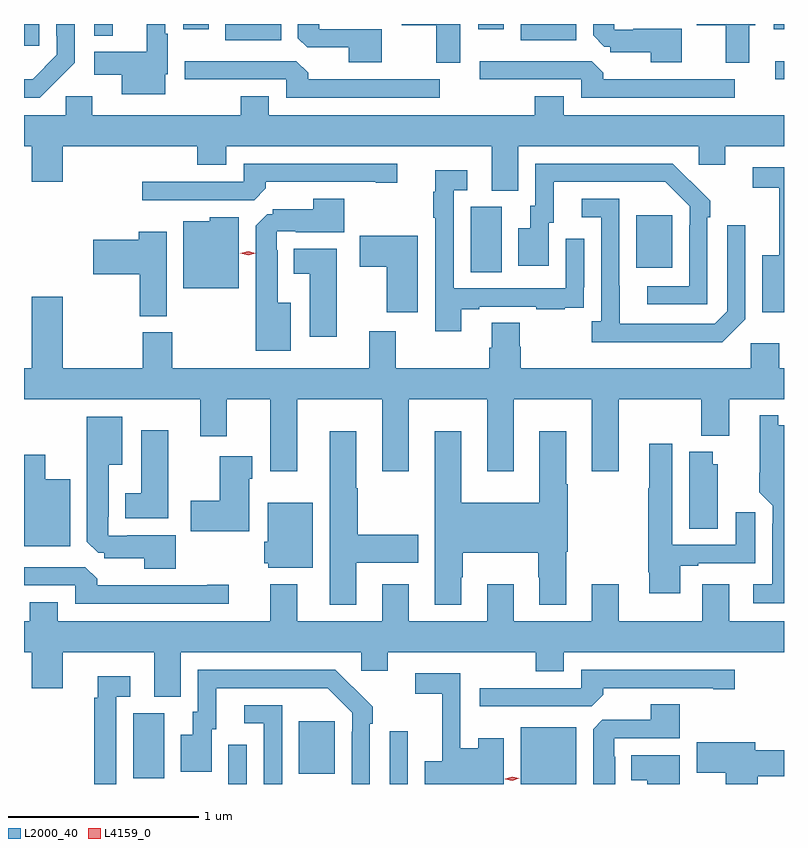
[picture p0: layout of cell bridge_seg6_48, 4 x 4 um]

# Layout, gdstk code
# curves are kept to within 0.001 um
import gdstk
lib = gdstk.Library(unit=1e-6, precision=1e-09)
def R(c, l, rs):  # rectangles x0, y0, x1, y1
    for r in rs: c.add(gdstk.rectangle(r[:2], r[2:], *l))
def P(c, l, *ps):  # polygons
    for p in ps: c.add(gdstk.Polygon(p, *l))
L2000_40 = (2000, 40)
L4159_0 = (4159, 0)

bridge_seg6_48 = lib.new_cell('bridge_seg6_48')
R(bridge_seg6_48, L2000_40, [(1077.132,983.939,1077.228,984.145), (1077.981,983.939,1078.077,984.217), (1078.67,983.939,1078.963,984.238), (1076.63,983.968,1076.794,984.312), (1077.503,983.993,1077.691,984.268), (1078.406,986.632,1078.57,986.976), (1079.279,986.657,1079.467,986.932), (1080.009,987.648,1080.056,987.744), (1076.056,987.825,1076.137,987.939), (1077.116,987.854,1077.409,987.939), (1078.67,987.854,1078.963,987.939), (1076.427,987.878,1076.523,987.939), (1076.894,987.912,1077.028,987.939), (1078.448,987.912,1078.582,987.939), (1080.002,987.912,1080.056,987.939)])
P(bridge_seg6_48, L2000_40, [(1079.872,987.932),(1079.905,987.932),(1079.905,987.939),(1079.598,987.939),(1079.598,987.932),(1079.75,987.932),(1079.75,987.735),(1079.872,987.735)],
  [(1076.8,987.675),(1076.812,987.675),(1076.812,987.889),(1076.799,987.889),(1076.799,987.939),(1076.702,987.939),(1076.702,987.793),(1076.427,987.793),(1076.427,987.671),(1076.57,987.671),(1076.57,987.569),(1076.8,987.569)],
  [(1076.322,987.734),(1076.322,987.939),(1076.226,987.939),(1076.226,987.877),(1076.229,987.877),(1076.229,987.777),(1076.101,987.649),(1076.056,987.649),(1076.056,987.552),(1076.14,987.552)],
  [(1077.94,987.912),(1077.609,987.912),(1077.609,987.939),(1077.497,987.939),(1077.497,987.865),(1077.546,987.816),(1077.764,987.816),(1077.764,987.737),(1077.94,987.737)],
  [(1078.351,987.939),(1078.044,987.939),(1078.044,987.932),(1078.226,987.932),(1078.226,987.735),(1078.351,987.735)],
  [(1079.518,987.913),(1079.263,987.913),(1079.263,987.909),(1079.163,987.909),(1079.163,987.939),(1079.051,987.939),(1079.051,987.879),(1079.111,987.819),(1079.142,987.819),(1079.142,987.791),(1079.354,987.791),(1079.354,987.737),(1079.518,987.737)],
  [(1078.243,987.648),(1077.551,987.648),(1077.551,987.682),(1077.489,987.744),(1076.901,987.744),(1076.901,987.648),(1077.435,987.648),(1077.435,987.552),(1078.243,987.552)],
  [(1079.797,987.648),(1079.105,987.648),(1079.105,987.682),(1079.043,987.744),(1078.455,987.744),(1078.455,987.648),(1078.989,987.648),(1078.989,987.552),(1079.797,987.552)],
  [(1078.657,987.296),(1079.607,987.296),(1079.607,987.198),(1079.746,987.198),(1079.746,987.296),(1080.056,987.296),(1080.056,987.46),(1078.897,987.46),(1078.897,987.559),(1078.745,987.559),(1078.745,987.46),(1077.343,987.46),(1077.343,987.559),(1077.196,987.559),(1077.196,987.46),(1076.416,987.46),(1076.416,987.558),(1076.277,987.558),(1076.277,987.46),(1076.056,987.46),(1076.056,987.296),(1076.096,987.296),(1076.096,987.108),(1076.26,987.108),(1076.26,987.296),(1076.969,987.296),(1076.969,987.197),(1077.121,987.197),(1077.121,987.296),(1078.517,987.296),(1078.517,987.061),(1078.657,987.061)],
  [(1079.652,986.921),(1079.667,986.921),(1079.667,987.009),(1079.47,987.204),(1078.746,987.204),(1078.746,986.982),(1078.721,986.982),(1078.721,986.863),(1078.658,986.863),(1078.658,986.667),(1078.819,986.667),(1078.819,986.892),(1078.843,986.892),(1078.843,987.108),(1079.431,987.108),(1079.559,986.979),(1079.559,986.879),(1079.556,986.879),(1079.556,986.559),(1079.337,986.559),(1079.337,986.463),(1079.652,986.463)],
  [(1077.329,987.074),(1077.329,987.108),(1077.908,987.108),(1077.908,987.103),(1078.021,987.103),(1078.021,987.204),(1077.213,987.204),(1077.213,987.108),(1076.679,987.108),(1076.679,987.012),(1077.267,987.012)],
  [(1080.056,987.186),(1079.892,987.186),(1079.892,987.078),(1080.032,987.078),(1080.032,986.722),(1079.942,986.722),(1079.942,986.422),(1080.056,986.422)],
  [(1078.357,986.439),(1078.453,986.439),(1078.453,986.451),(1078.753,986.451),(1078.753,986.439),(1078.901,986.439),(1078.901,986.445),(1079.003,986.445),(1079.003,986.554),(1079.004,986.554),(1079.004,986.809),(1078.908,986.809),(1078.908,986.547),(1078.317,986.547),(1078.317,987.063),(1078.39,987.063),(1078.39,987.169),(1078.22,987.169),(1078.22,987.056),(1078.209,987.056),(1078.209,986.92),(1078.221,986.92),(1078.221,986.322),(1078.357,986.322)],
  [(1077.46,986.473),(1077.391,986.473),(1077.391,986.747),(1077.387,986.747),(1077.387,986.847),(1077.487,986.847),(1077.487,986.843),(1077.742,986.843),(1077.742,987.019),(1077.578,987.019),(1077.578,986.965),(1077.366,986.965),(1077.366,986.937),(1077.335,986.937),(1077.275,986.877),(1077.275,986.219),(1077.46,986.219)],
  [(1079.853,986.385),(1079.853,986.881),(1079.757,986.881),(1079.757,986.427),(1079.691,986.361),(1079.191,986.361),(1079.19,987.018),(1078.992,987.018),(1078.992,986.922),(1079.094,986.922),(1079.094,986.374),(1079.043,986.374),(1079.043,986.264),(1079.732,986.264)],
  [(1077.187,986.923),(1077.033,986.923),(1077.033,986.902),(1076.894,986.902),(1076.894,986.549),(1077.187,986.549)],
  [(1076.806,986.845),(1076.66,986.845),(1076.66,986.804),(1076.421,986.804),(1076.421,986.621),(1076.665,986.621),(1076.665,986.401),(1076.806,986.401)],
  [(1078.129,986.824),(1077.822,986.824),(1077.822,986.662),(1077.965,986.662),(1077.965,986.421),(1078.129,986.421)],
  [(1077.703,986.755),(1077.476,986.755),(1077.476,986.624),(1077.56,986.624),(1077.56,986.292),(1077.703,986.292)],
  [(1077.493,985.964),(1077.941,985.964),(1077.941,985.584),(1078.081,985.584),(1078.081,985.964),(1078.493,985.964),(1078.493,985.584),(1078.633,985.584),(1078.633,985.964),(1079.045,985.964),(1079.045,985.584),(1079.185,985.584),(1079.185,985.964),(1079.62,985.964),(1079.62,985.772),(1079.767,985.772),(1079.767,985.964),(1080.056,985.964),(1080.056,986.128),(1080.032,986.128),(1080.032,986.26),(1079.88,986.26),(1079.88,986.128),(1078.67,986.128),(1078.67,986.241),(1078.665,986.241),(1078.665,986.366),(1078.517,986.366),(1078.517,986.234),(1078.505,986.234),(1078.505,986.128),(1078.012,986.128),(1078.012,986.323),(1077.872,986.323),(1077.872,986.128),(1076.835,986.128),(1076.835,986.316),(1076.68,986.316),(1076.68,986.128),(1076.26,986.128),(1076.26,986.503),(1076.096,986.503),(1076.096,986.128),(1076.056,986.128),(1076.056,985.964),(1076.984,985.964),(1076.984,985.77),(1077.124,985.77),(1077.124,985.964),(1077.353,985.964),(1077.353,985.584),(1077.493,985.584)],
  [(1080.056,985.828),(1080.025,985.828),(1080.025,985.879),(1079.928,985.879),(1079.927,985.474),(1079.997,985.404),(1079.997,985.31),(1079.993,985.31),(1079.993,984.991),(1079.895,984.991),(1079.895,984.89),(1080.056,984.89)],
  [(1076.854,985.249),(1076.599,985.249),(1076.599,985.245),(1076.499,985.245),(1076.499,985.345),(1076.503,985.345),(1076.503,985.619),(1076.572,985.619),(1076.572,985.873),(1076.387,985.873),(1076.387,985.215),(1076.447,985.155),(1076.478,985.155),(1076.478,985.127),(1076.69,985.127),(1076.69,985.073),(1076.854,985.073)],
  [(1076.815,985.801),(1076.672,985.801),(1076.672,985.468),(1076.588,985.468),(1076.588,985.337),(1076.815,985.337)],
  [(1078.357,985.028),(1078.365,985.028),(1078.365,985.157),(1078.762,985.157),(1078.762,985.028),(1078.769,985.028),(1078.769,984.882),(1078.909,984.882),(1078.909,985.161),(1078.917,985.161),(1078.917,985.516),(1078.909,985.516),(1078.909,985.795),(1078.769,985.795),(1078.769,985.42),(1078.357,985.42),(1078.357,985.795),(1078.217,985.795),(1078.217,984.882),(1078.357,984.882)],
  [(1077.805,985.103),(1078.132,985.103),(1078.132,985.251),(1077.813,985.251),(1077.813,985.496),(1077.805,985.496),(1077.805,985.795),(1077.665,985.795),(1077.665,984.882),(1077.805,984.882)],
  [(1079.509,985.089),(1079.605,985.089),(1079.605,985.101),(1079.905,985.101),(1079.905,985.369),(1079.801,985.369),(1079.801,985.197),(1079.467,985.197),(1079.467,985.729),(1079.348,985.729),(1079.348,985.496),(1079.341,985.496),(1079.341,985.054),(1079.348,985.054),(1079.348,984.942),(1079.509,984.942)],
  [(1079.707,985.623),(1079.68,985.623),(1079.68,985.687),(1079.558,985.687),(1079.558,985.282),(1079.707,985.282)],
  [(1076.299,985.543),(1076.167,985.543),(1076.167,985.672),(1076.056,985.672),(1076.056,985.19),(1076.299,985.19)],
  [(1077.241,985.545),(1077.256,985.545),(1077.256,985.663),(1077.086,985.663),(1077.086,985.431),(1076.934,985.431),(1076.934,985.268),(1077.241,985.268)],
  [(1077.577,985.42),(1077.338,985.42),(1077.338,985.215),(1077.32,985.215),(1077.32,985.101),(1077.342,985.101),(1077.342,985.076),(1077.577,985.076)],
  [(1077.133,984.989),(1077.02,984.989),(1077.02,984.984),(1076.441,984.984),(1076.441,985.018),(1076.379,985.08),(1076.056,985.08),(1076.056,984.984),(1076.325,984.984),(1076.325,984.888),(1077.133,984.888)],
  [(1076.881,984.632),(1077.831,984.632),(1077.831,984.534),(1077.97,984.534),(1077.97,984.632),(1078.75,984.632),(1078.75,984.533),(1078.897,984.533),(1078.897,984.632),(1080.056,984.632),(1080.056,984.796),(1079.767,984.796),(1079.767,984.991),(1079.627,984.991),(1079.627,984.796),(1079.185,984.796),(1079.185,984.991),(1079.045,984.991),(1079.045,984.796),(1078.633,984.796),(1078.633,984.991),(1078.493,984.991),(1078.493,984.796),(1078.081,984.796),(1078.081,984.991),(1077.941,984.991),(1077.941,984.796),(1077.493,984.796),(1077.493,984.991),(1077.353,984.991),(1077.353,984.796),(1076.233,984.796),(1076.233,984.895),(1076.086,984.895),(1076.086,984.796),(1076.056,984.796),(1076.056,984.632),(1076.096,984.632),(1076.096,984.444),(1076.26,984.444),(1076.26,984.632),(1076.741,984.632),(1076.741,984.397),(1076.881,984.397)],
  [(1077.876,984.257),(1077.891,984.257),(1077.891,984.345),(1077.694,984.54),(1076.97,984.54),(1076.97,984.318),(1076.945,984.318),(1076.945,984.199),(1076.882,984.199),(1076.882,984.003),(1077.043,984.003),(1077.043,984.228),(1077.067,984.228),(1077.067,984.444),(1077.655,984.444),(1077.783,984.315),(1077.783,984.215),(1077.78,984.215),(1077.78,983.939),(1077.876,983.939)],
  [(1079.105,984.41),(1079.105,984.444),(1079.684,984.444),(1079.684,984.439),(1079.797,984.439),(1079.797,984.54),(1078.989,984.54),(1078.989,984.444),(1078.455,984.444),(1078.455,984.348),(1079.043,984.348)],
  [(1078.582,984.181),(1078.448,984.181),(1078.448,984.127),(1078.353,984.127),(1078.353,984.522),(1078.116,984.522),(1078.116,984.414),(1078.256,984.414),(1078.256,984.058),(1078.166,984.058),(1078.166,983.939),(1078.582,983.939)],
  [(1076.541,984.399),(1076.614,984.399),(1076.614,984.505),(1076.444,984.505),(1076.444,984.392),(1076.425,984.392),(1076.425,983.939),(1076.541,983.939)],
  [(1079.167,984.083),(1079.163,984.083),(1079.163,984.18),(1079.507,984.18),(1079.507,984.359),(1079.354,984.359),(1079.354,984.276),(1079.1,984.276),(1079.051,984.227),(1079.051,983.939),(1079.167,983.939)],
  [(1077.414,984.354),(1077.216,984.354),(1077.216,984.258),(1077.318,984.258),(1077.318,983.939),(1077.414,983.939)],
  [(1079.918,983.98),(1080.056,983.98),(1080.056,984.116),(1079.905,984.116),(1079.905,984.16),(1079.598,984.16),(1079.598,983.998),(1079.75,983.998),(1079.75,983.939),(1079.918,983.939)],
  [(1079.506,984.091),(1079.252,984.091),(1079.252,983.96),(1079.336,983.96),(1079.336,983.939),(1079.506,983.939)])
P(bridge_seg6_48, L4159_0, [(1078.627,983.957),(1078.59,983.965),(1078.59,983.965),(1078.59,983.966),(1078.626,983.976),(1078.663,983.968),(1078.663,983.968),(1078.663,983.968)],
  [(1077.235,986.723),(1077.194,986.733),(1077.194,986.733),(1077.194,986.733),(1077.235,986.743),(1077.276,986.733),(1077.276,986.733),(1077.276,986.733)])

lib.write_gds('bridge_seg6_48.gds')
